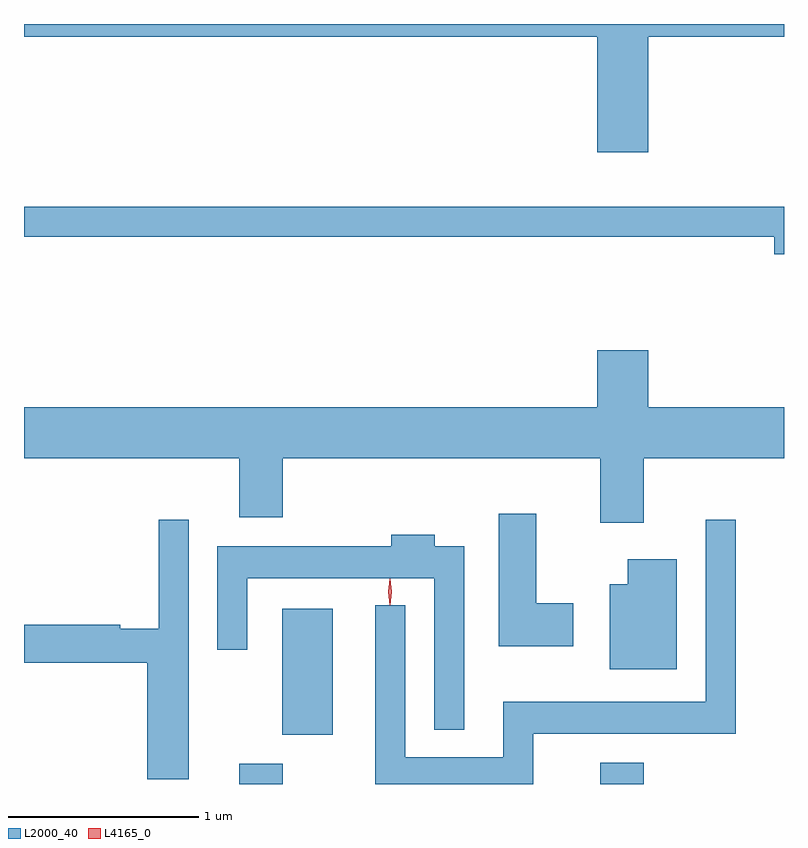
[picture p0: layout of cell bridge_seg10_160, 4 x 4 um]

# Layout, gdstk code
import gdstk
lib = gdstk.Library(unit=1e-6, precision=1e-09)
def R(c, l, rs):  # rectangles x0, y0, x1, y1
    for r in rs: c.add(gdstk.rectangle(r[:2], r[2:], *l))
def P(c, l, *ps):  # polygons
    for p in ps: c.add(gdstk.Polygon(p, *l))
L2000_40 = (2000, 40)
L4165_0 = (4165, 0)

bridge_seg10_160 = lib.new_cell('bridge_seg10_160')
R(bridge_seg10_160, L2000_40, [(1691.711,2092.222,1691.939,2092.329), (1693.611,2092.222,1693.839,2092.334), (1691.936,2092.481,1692.204,2093.144)])
P(bridge_seg10_160, L2000_40, [(1693.864,2096.156),(1694.578,2096.156),(1694.578,2096.222),(1690.578,2096.222),(1690.578,2096.156),(1693.596,2096.156),(1693.596,2095.546),(1693.864,2095.546)],
  [(1694.578,2095.259),(1690.578,2095.259),(1690.578,2095.101),(1694.526,2095.101),(1694.526,2095.011),(1694.578,2095.011)],
  [(1693.839,2093.936),(1694.578,2093.936),(1694.578,2094.204),(1693.864,2094.204),(1693.864,2094.504),(1693.596,2094.504),(1693.596,2094.204),(1690.578,2094.204),(1690.578,2093.936),(1691.711,2093.936),(1691.711,2093.626),(1691.939,2093.626),(1691.939,2093.936),(1693.611,2093.936),(1693.611,2093.596),(1693.839,2093.596)],
  [(1693.469,2093.174),(1693.274,2093.174),(1693.274,2093.644),(1693.076,2093.644),(1693.076,2092.946),(1693.469,2092.946)],
  [(1691.444,2093.613),(1691.286,2093.613),(1691.286,2093.039),(1691.084,2093.039),(1691.084,2093.059),(1690.578,2093.059),(1690.578,2092.861),(1691.226,2092.861),(1691.226,2092.246),(1691.444,2092.246)],
  [(1693.259,2092.486),(1694.324,2092.486),(1694.324,2093.613),(1694.166,2093.613),(1694.166,2092.654),(1693.101,2092.654),(1693.101,2092.364),(1692.584,2092.364),(1692.584,2093.163),(1692.426,2093.163),(1692.426,2092.222),(1693.259,2092.222)],
  [(1692.894,2093.474),(1692.739,2093.474),(1692.739,2093.534),(1692.511,2093.534),(1692.511,2093.474),(1691.596,2093.474),(1691.596,2092.928),(1691.754,2092.928),(1691.754,2093.306),(1692.736,2093.306),(1692.736,2092.508),(1692.894,2092.508)],
  [(1694.014,2093.404),(1693.756,2093.404),(1693.756,2093.274),(1693.661,2093.274),(1693.661,2092.826),(1694.014,2092.826)])
P(bridge_seg10_160, L4165_0, [(1692.504,2093.167),(1692.495,2093.234),(1692.504,2093.3),(1692.504,2093.3),(1692.505,2093.3),(1692.514,2093.234),(1692.505,2093.167),(1692.505,2093.167)],
  [(1692.504,2093.164),(1692.504,2093.164),(1692.494,2093.233),(1692.504,2093.302),(1692.504,2093.303),(1692.505,2093.302),(1692.514,2093.233),(1692.505,2093.164)])

lib.write_gds('bridge_seg10_160.gds')
